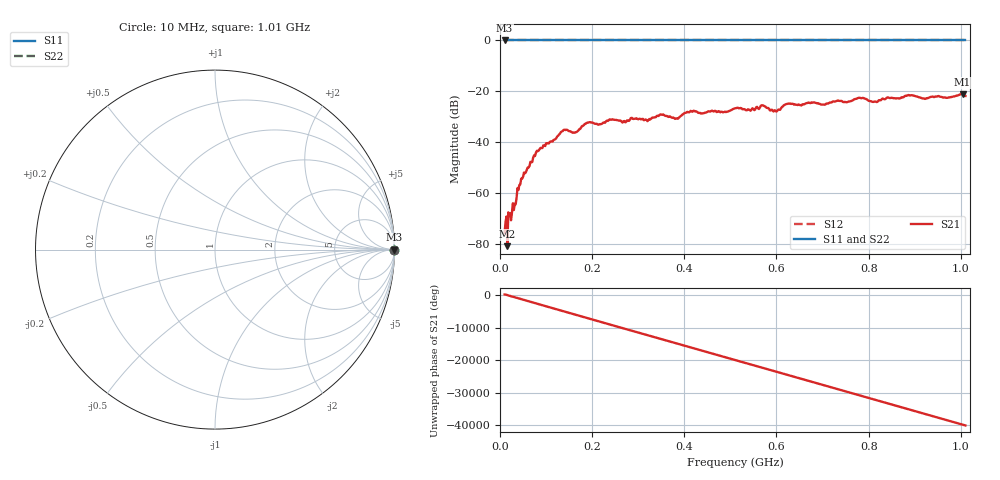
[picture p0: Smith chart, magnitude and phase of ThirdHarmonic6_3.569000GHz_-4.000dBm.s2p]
! 8/17/2025 11:49:19 AM
! C:\ANRITSUVNA\TEMP\TEMP.S2P
! CHANNEL.1
! TR.MEASUREMENT
! RAW.DATA
! RF.CORRECTION.OFF
! AVERAGING.OFF
! IF.BANDWIDTH: 5KHZ
! SWEEPTYPE:  FREQ.SWEEP(Linear)
! Reference Plane Port Info
! PORT:  PORT1  PORT2
! DISTANCE:  0  m  0  m
! TIME:  0  s  0  s
! PHASE.OFFSET:  0  deg.  0  deg.
! LOSS:  0  dB  0  dB
! REF.LOSS:  0  dB  0  dB
! REF.FREQ:  0  Hz  0  Hz
! Power Info
! POWER:  -20  dBm  -20  dBm
! EFF.POWER:  -20  dBm  -20  dBm
! SOURCE.ATTEN:  0  dB  0  dB
! TEST.ATTEN:  0  dB  0  dB
# GHZ S RI R 50.0
! FREQ.GHZ  S11RE  S11IM  S21RE  S21IM  S12RE  S12IM  S22RE  S22IM
!; PortSelection: Port_12
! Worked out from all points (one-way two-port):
!   501 points, 10 MHz to 1.01 GHz, reference 50 ohm
!   highest |S21| = -21.14 dB at 1.004 GHz (marker M1); lowest = -80.8 dB at 16 MHz (marker M2)
!   lowest |S11| = 0.0 dB at 10 MHz (marker M3)
!   |S11| at or under -10 dB: nowhere
!   |S22| runs from 0.0 to 0.0 dB; largest |S21 - S12| = 1.1
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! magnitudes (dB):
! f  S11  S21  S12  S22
! 10 MHz  0.0  -75.7  0.0  0.0
! 12 MHz  0.0  -71.3  0.0  0.0
! 16 MHz  0.0  -80.8  0.0  0.0
! 20 MHz  0.0  -68.6  0.0  0.0
! 22 MHz  0.0  -67.9  0.0  0.0
! 28 MHz  0.0  -63.9  0.0  0.0
! 50 MHz  0.0  -53.6  0.0  0.0
! 78 MHz  0.0  -44.1  0.0  0.0
! 136 MHz  0.0  -35.6  0.0  0.0
! 162 MHz  0.0  -36.2  0.0  0.0
! 178 MHz  0.0  -33.6  0.0  0.0
! 344 MHz  0.0  -29.7  0.0  0.0
! 384 MHz  0.0  -30.6  0.0  0.0
! 416 MHz  0.0  -27.9  0.0  0.0
! 510 MHz  0.0  -26.7  0.0  0.0
! 570 MHz  0.0  -25.5  0.0  0.0
! 598 MHz  0.0  -27.6  0.0  0.0
! 624 MHz  0.0  -24.9  0.0  0.0
! 678 MHz  0.0  -24.5  0.0  0.0
! 844 MHz  0.0  -22.5  0.0  0.0
! 1.004 GHz  0.0  -21.1  0.0  0.0
! 1.01 GHz  0.0  -21.8  0.0  0.0
